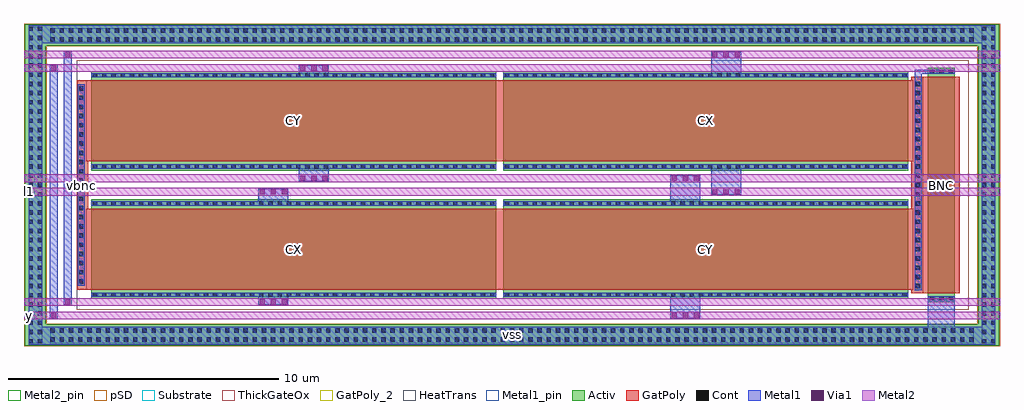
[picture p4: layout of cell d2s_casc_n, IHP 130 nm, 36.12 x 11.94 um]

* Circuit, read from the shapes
.subckt d2s_casc_n b l1 vbnc vss x y
XM1 l1 vbnc x vss sg13_hv_nmos w=15u l=3u m=2
XM2 y vbnc b vss sg13_hv_nmos w=15u l=3u m=2
XM3 vbnc vbnc vss vss sg13_hv_nmos w=1u l=8u
.ends

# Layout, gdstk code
from math import pi, radians
import gdstk
lib = gdstk.Library(unit=1e-6, precision=1e-09)
def R(c, l, rs):  # rectangles x0, y0, x1, y1
    for r in rs: c.add(gdstk.rectangle(r[:2], r[2:], *l))
def A(c, l, x, y, w, h, nx, ny, dx, dy):  # array of equal rectangles
    R(c, l, [(x+i*dx, y+j*dy, x+i*dx+w, y+j*dy+h) for i in range(nx) for j in range(ny)])
Activ = (1, 0)
GatPoly = (5, 0)
GatPoly_2 = (5, 2)
Cont = (6, 0)
Metal1 = (8, 0)
Metal1_pin = (8, 2)
Metal2 = (10, 0)
Metal2_pin = (10, 2)
pSD = (14, 0)
Via1 = (19, 0)
Substrate = (40, 0)
ThickGateOx = (44, 0)
HeatTrans = (51, 0)

nmoshv_1 = lib.new_cell('nmosHV$1')
R(nmoshv_1, Activ, [(0,0,0.3,0.3), (0,0,3.68,15), (3.38,0,3.68,0.3)])
R(nmoshv_1, GatPoly, [(0.34,-0.18,3.34,15.18)])
R(nmoshv_1, GatPoly_2, [(0.34,-0.18,3.34,15.18)])
A(nmoshv_1, Cont, 0.07, 0.07, 0.16, 0.16, 1, 3, 0, 0.34)
A(nmoshv_1, Cont, 3.45, 0.07, 0.16, 0.16, 1, 3, 0, 0.34)
A(nmoshv_1, Cont, 0.07, 1.095, 0.16, 0.16, 1, 3, 0, 0.34)
A(nmoshv_1, Cont, 3.45, 1.095, 0.16, 0.16, 1, 3, 0, 0.34)
A(nmoshv_1, Cont, 0.07, 2.12, 0.16, 0.16, 1, 3, 0, 0.34)
A(nmoshv_1, Cont, 3.45, 2.12, 0.16, 0.16, 1, 3, 0, 0.34)
A(nmoshv_1, Cont, 0.07, 3.83, 0.16, 0.16, 1, 3, 0, 0.34)
A(nmoshv_1, Cont, 3.45, 3.83, 0.16, 0.16, 1, 3, 0, 0.34)
A(nmoshv_1, Cont, 0.07, 4.855, 0.16, 0.16, 1, 3, 0, 0.34)
A(nmoshv_1, Cont, 3.45, 4.855, 0.16, 0.16, 1, 3, 0, 0.34)
A(nmoshv_1, Cont, 0.07, 6.565, 0.16, 0.16, 1, 3, 0, 0.34)
A(nmoshv_1, Cont, 3.45, 6.565, 0.16, 0.16, 1, 3, 0, 0.34)
A(nmoshv_1, Cont, 0.07, 7.59, 0.16, 0.16, 1, 3, 0, 0.34)
A(nmoshv_1, Cont, 3.45, 7.59, 0.16, 0.16, 1, 3, 0, 0.34)
A(nmoshv_1, Cont, 0.07, 9.3, 0.16, 0.16, 1, 3, 0, 0.34)
A(nmoshv_1, Cont, 3.45, 9.3, 0.16, 0.16, 1, 3, 0, 0.34)
A(nmoshv_1, Cont, 0.07, 10.325, 0.16, 0.16, 1, 3, 0, 0.34)
A(nmoshv_1, Cont, 3.45, 10.325, 0.16, 0.16, 1, 3, 0, 0.34)
A(nmoshv_1, Cont, 0.07, 12.035, 0.16, 0.16, 1, 3, 0, 0.34)
A(nmoshv_1, Cont, 3.45, 12.035, 0.16, 0.16, 1, 3, 0, 0.34)
A(nmoshv_1, Cont, 0.07, 13.06, 0.16, 0.16, 1, 3, 0, 0.34)
A(nmoshv_1, Cont, 3.45, 13.06, 0.16, 0.16, 1, 3, 0, 0.34)
R(nmoshv_1, Cont, [(0.07,3.145,0.23,3.305), (3.45,3.145,3.61,3.305), (0.07,3.485,0.23,3.645), (3.45,3.485,3.61,3.645), (0.07,5.88,0.23,6.04), (3.45,5.88,3.61,6.04), (0.07,6.22,0.23,6.38), (3.45,6.22,3.61,6.38), (0.07,8.615,0.23,8.775), (3.45,8.615,3.61,8.775), (0.07,8.955,0.23,9.115), (3.45,8.955,3.61,9.115), (0.07,11.35,0.23,11.51), (3.45,11.35,3.61,11.51), (0.07,11.69,0.23,11.85), (3.45,11.69,3.61,11.85), (0.07,14.085,0.23,14.245), (3.45,14.085,3.61,14.245), (0.07,14.425,0.23,14.585), (3.45,14.425,3.61,14.585), (0.07,14.77,0.23,14.93), (3.45,14.77,3.61,14.93)])
R(nmoshv_1, Metal1, [(0.07,0,0.23,15), (3.45,0,3.61,15)])
R(nmoshv_1, Metal1_pin, [(0.07,0,0.23,15), (3.45,0,3.61,15)])
R(nmoshv_1, ThickGateOx, [(-0.27,-0.52,3.95,15.52)])
R(nmoshv_1, HeatTrans, [(0.34,-0.18,3.34,15.18)])
nmoshv_1.add(gdstk.Label('nmosHV', (1.84,7.5), layer=63, texttype=0))
nmoshv_1.add(gdstk.Label('nmosHV', (1.84,7.5), layer=51, texttype=0))

nmoshv_2 = lib.new_cell('nmosHV$2')
R(nmoshv_2, Activ, [(0,0,0.3,0.3), (0,0,8.68,1), (8.38,0,8.68,0.3)])
R(nmoshv_2, GatPoly, [(0.34,-0.18,8.34,1.18)])
R(nmoshv_2, GatPoly_2, [(0.34,-0.18,8.34,1.18)])
A(nmoshv_2, Cont, 0.07, 0.07, 0.16, 0.16, 1, 3, 0, 0.35)
A(nmoshv_2, Cont, 8.45, 0.07, 0.16, 0.16, 1, 3, 0, 0.35)
R(nmoshv_2, Metal1, [(0.07,0,0.23,1), (8.45,0,8.61,1)])
R(nmoshv_2, Metal1_pin, [(0.07,0,0.23,1), (8.45,0,8.61,1)])
R(nmoshv_2, ThickGateOx, [(-0.27,-0.52,8.95,1.52)])
R(nmoshv_2, HeatTrans, [(0.34,-0.18,8.34,1.18)])
nmoshv_2.add(gdstk.Label('nmosHV', (4.34,0.5), layer=63, texttype=0))
nmoshv_2.add(gdstk.Label('nmosHV', (4.34,0.5), layer=51, texttype=0))

ptap1_19 = lib.new_cell('ptap1$19')
R(ptap1_19, Activ, [(0,0,0.78,11.88)])
A(ptap1_19, Cont, 0.14, 0.08, 0.16, 0.16, 1, 35, 0, 0.34)
A(ptap1_19, Cont, 0.48, 0.08, 0.16, 0.16, 1, 35, 0, 0.34)
R(ptap1_19, Metal1, [(0.14,0.03,0.64,11.85), (0.14,0.08,0.64,11.8)])
R(ptap1_19, Metal1_pin, [(0.14,0.08,0.64,11.8)])
R(ptap1_19, pSD, [(-0.03,-0.03,0.81,11.91)])
R(ptap1_19, Substrate, [(0,0,0.78,11.88)])
ptap1_19.add(gdstk.Label('sub!', (0.39,0.01), layer=63, texttype=0))
ptap1_19.add(gdstk.Label('sub!', (0.39,0.01), layer=40, texttype=0))

ptap1_20 = lib.new_cell('ptap1$20')
R(ptap1_20, Activ, [(0,0,34.5,0.78)])
A(ptap1_20, Cont, 0.17, 0.14, 0.16, 0.16, 101, 2, 0.34, 0.34)
R(ptap1_20, Metal1, [(0.17,0.09,34.33,0.69), (0.17,0.14,34.33,0.64)])
R(ptap1_20, Metal1_pin, [(0.17,0.14,34.33,0.64)])
R(ptap1_20, pSD, [(-0.03,-0.03,34.53,0.81)])
R(ptap1_20, Substrate, [(0,0,34.5,0.78)])
ptap1_20.add(gdstk.Label('sub!', (17.25,0.01), layer=63, texttype=0))
ptap1_20.add(gdstk.Label('sub!', (17.25,0.01), layer=40, texttype=0))

d2s_casc_n = lib.new_cell('d2s_casc_n')
R(d2s_casc_n, GatPoly, [(30.35,0.21,30.87,8.21), (-0.51,0.34,-0.1,8.08)])
A(d2s_casc_n, Cont, 30.53, 0.39, 0.16, 0.16, 1, 23, 0, 0.34)
A(d2s_casc_n, Cont, -0.44, 0.56, 0.16, 0.16, 1, 22, 0, 0.34)
R(d2s_casc_n, Metal1, [(-2.31,-1.7,33.47,-1.64), (-1.91,-1.64,-1.4,-1.04), (32.56,-1.64,33.07,-1.04), (30.97,-1.14,31.97,0.1), (-1.53,-0.765,-1.24,8.685), (21.445,-0.725,22.555,0.23), (-1.01,-0.265,-0.72,9.185), (6.195,-0.225,7.305,0.23), (30.48,0.32,30.74,8.48), (-0.49,0.49,-0.23,7.93), (6.195,3.45,7.305,4.065), (21.445,3.45,22.555,4.565), (22.945,3.855,24.055,4.97), (7.695,4.355,8.805,4.97), (7.695,8.19,8.805,8.645), (22.945,8.19,24.055,9.145), (30.48,8.32,31.07,8.48), (-1.91,9.46,-1.4,10.06), (32.56,9.46,33.07,10.06), (-2.31,10.06,33.47,10.12)])
R(d2s_casc_n, Metal1_pin, [(-1.5,-1.64,32.66,-1.04), (-0.49,0.49,-0.23,7.93)])
R(d2s_casc_n, Metal2_pin, [(-2.48,-0.765,-2.08,-0.475), (-2.48,-0.265,-2.08,0.025), (-2.48,3.815,-2.08,4.105), (-2.48,4.315,-2.08,4.605)])
A(d2s_casc_n, Via1, 21.495, -0.715, 0.19, 0.19, 3, 2, 0.41, 5.08)
A(d2s_casc_n, Via1, 6.245, -0.215, 0.19, 0.19, 3, 2, 0.41, 4.08)
A(d2s_casc_n, Via1, 22.995, 3.865, 0.19, 0.19, 3, 2, 0.41, 5.08)
A(d2s_casc_n, Via1, 7.745, 4.365, 0.19, 0.19, 3, 2, 0.41, 4.08)
R(d2s_casc_n, Via1, [(-1.48,-0.715,-1.29,-0.525), (-0.96,-0.215,-0.77,-0.025), (-1.48,8.445,-1.29,8.635), (-0.96,8.945,-0.77,9.135)])
R(d2s_casc_n, ThickGateOx, [(-0.52,-0.4,32.49,8.82)])
d2s_casc_n.add(gdstk.FlexPath([(-2.335,-0.62),(33.495,-0.62)], 0.29, ends="extended", simple_path=True, layer=10, datatype=0))  # Metal2
d2s_casc_n.add(gdstk.FlexPath([(-2.335,-0.12),(33.495,-0.12)], 0.29, ends="extended", simple_path=True, layer=10, datatype=0))  # Metal2
d2s_casc_n.add(gdstk.FlexPath([(-2.335,3.96),(33.495,3.96)], 0.29, ends="extended", simple_path=True, layer=10, datatype=0))  # Metal2
d2s_casc_n.add(gdstk.FlexPath([(-2.335,4.46),(33.495,4.46)], 0.29, ends="extended", simple_path=True, layer=10, datatype=0))  # Metal2
d2s_casc_n.add(gdstk.FlexPath([(-2.335,8.54),(33.495,8.54)], 0.29, ends="extended", simple_path=True, layer=10, datatype=0))  # Metal2
d2s_casc_n.add(gdstk.FlexPath([(-2.335,9.04),(33.495,9.04)], 0.29, ends="extended", simple_path=True, layer=10, datatype=0))  # Metal2
r = gdstk.Reference(nmoshv_1, (0,0), rotation=pi/2, x_reflection=True); r.repetition = gdstk.Repetition(2, 2, v1=(0,4.74), v2=(15.25,0)); d2s_casc_n.add(r)
d2s_casc_n.add(gdstk.Reference(nmoshv_2, (30.97,-0.13), rotation=pi/2, x_reflection=True))
d2s_casc_n.add(gdstk.Reference(ptap1_19, (-2.45,-1.73)))
d2s_casc_n.add(gdstk.Reference(ptap1_19, (32.83,-1.73)))
d2s_casc_n.add(gdstk.Reference(ptap1_20, (-1.67,9.37)))
d2s_casc_n.add(gdstk.Reference(ptap1_20, (-1.67,-1.73)))
d2s_casc_n.add(gdstk.Label('CX', (7.5,1.84), layer=63, texttype=0))
d2s_casc_n.add(gdstk.Label('CY', (22.75,1.84), layer=63, texttype=0))
d2s_casc_n.add(gdstk.Label('CY', (7.5,6.58), layer=63, texttype=0))
d2s_casc_n.add(gdstk.Label('CX', (22.75,6.58), layer=63, texttype=0))
d2s_casc_n.add(gdstk.Label('BNC', (31.47,4.21), layer=63, texttype=0))
d2s_casc_n.add(gdstk.Label('vbnc', (-0.36,4.21), layer=8, texttype=25))
d2s_casc_n.add(gdstk.Label('vss', (15.58,-1.34), layer=8, texttype=25))
d2s_casc_n.add(gdstk.Label('y', (-2.28,-0.62), layer=10, texttype=25))
d2s_casc_n.add(gdstk.Label('x', (-2.28,-0.12), layer=10, texttype=25))
d2s_casc_n.add(gdstk.Label('l1', (-2.28,3.96), layer=10, texttype=25))
d2s_casc_n.add(gdstk.Label('b', (-2.28,4.46), layer=10, texttype=25))

lib.write_gds('d2s_casc_n.gds')
